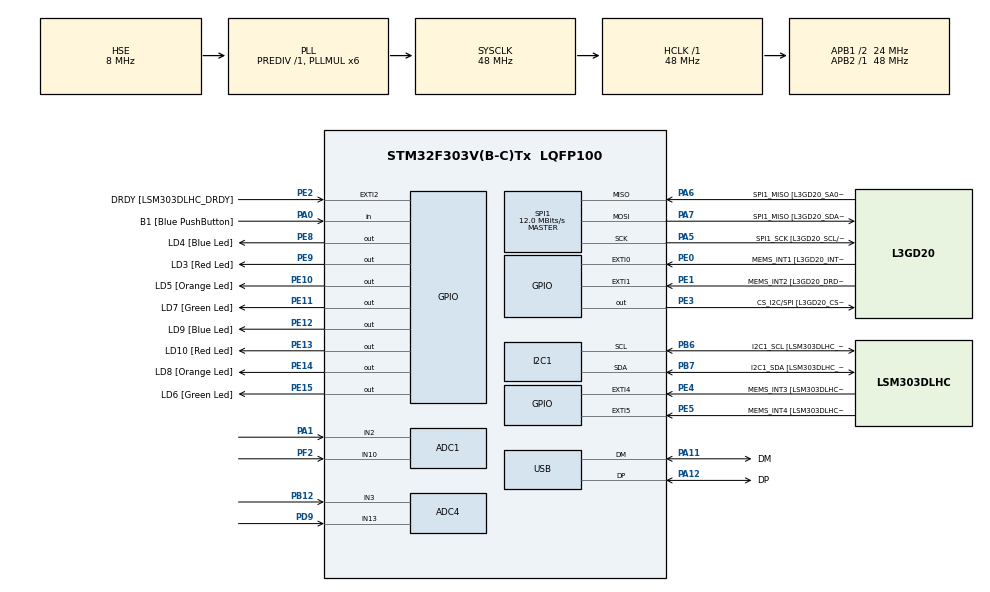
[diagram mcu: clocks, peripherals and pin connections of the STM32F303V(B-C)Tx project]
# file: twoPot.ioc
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ADC1.Channel-1\#ChannelRegularConversion=ADC_CHANNEL_2
ADC1.ContinuousConvMode=ENABLE
ADC1.NbrOfConversionFlag=1
ADC1.Offset-1\#ChannelRegularConversion=0
ADC1.OffsetNumber-1\#ChannelRegularConversion=ADC_OFFSET_NONE
ADC1.Rank-1\#ChannelRegularConversion=1
ADC1.SamplingTime-1\#ChannelRegularConversion=ADC_SAMPLETIME_1CYCLE_5
ADC1.master=1
ADC4.Channel-0\#ChannelRegularConversion=ADC_CHANNEL_3
ADC4.ContinuousConvMode=ENABLE
ADC4.NbrOfConversionFlag=1
ADC4.Offset-0\#ChannelRegularConversion=0
ADC4.OffsetNumber-0\#ChannelRegularConversion=ADC_OFFSET_NONE
ADC4.Rank-0\#ChannelRegularConversion=1
ADC4.SamplingTime-0\#ChannelRegularConversion=ADC_SAMPLETIME_1CYCLE_5
I2C1.Timing=0x2000090E
I2C1.Timing-I2C=0x2000090E
Mcu.Family=STM32F3
Mcu.Name=STM32F303V(B-C)Tx
Mcu.Package=LQFP100
NVIC.PriorityGroup=NVIC_PRIORITYGROUP_0
PA0.GPIO_Label=B1 [Blue PushButton]
PA0.Signal=GPIO_Input
PA1.Mode=IN2-Single-Ended
PA1.Signal=ADC1_IN2
PA11.GPIO_Label=DM
PA11.Mode=Device
PA11.Signal=USB_DM
PA12.GPIO_Label=DP
PA12.Mode=Device
PA12.Signal=USB_DP
PA13.GPIO_Label=SWDIO
PA13.Mode=Serial_Wire
PA13.Signal=SYS_JTMS-SWDIO
PA14.GPIO_Label=SWCLK
PA14.Mode=Serial_Wire
PA14.Signal=SYS_JTCK-SWCLK
PA5.GPIO_Label=SPI1_SCK [L3GD20_SCL/SPC]
PA5.Mode=Full_Duplex_Master
PA5.Signal=SPI1_SCK
PA6.GPIO_Label=SPI1_MISO [L3GD20_SA0/SDO]
PA6.Mode=Full_Duplex_Master
PA6.Signal=SPI1_MISO
PA7.GPIO_Label=SPI1_MISO [L3GD20_SDA/SDI/SDO]
PA7.Mode=Full_Duplex_Master
PA7.Signal=SPI1_MOSI
PB12.Mode=IN3-Single-Ended
PB12.Signal=ADC4_IN3
PB3.GPIO_Label=SWO
PB3.Signal=SYS_JTDO-TRACESWO
PB6.GPIO_Label=I2C1_SCL [LSM303DLHC_SCL]
PB6.GPIO_Pu=GPIO_PULLUP
PB6.Mode=I2C
PB6.Signal=I2C1_SCL
PB7.GPIO_Label=I2C1_SDA [LSM303DLHC_SDA]
PB7.GPIO_Pu=GPIO_PULLUP
PB7.Mode=I2C
PB7.Signal=I2C1_SDA
PC14-OSC32_IN.GPIO_Label=OSC32_IN
PC14-OSC32_IN.Signal=RCC_OSC32_IN
PC15-OSC32_OUT.GPIO_Label=OSC32_OUT
PC15-OSC32_OUT.Signal=RCC_OSC32_OUT
PD9.Mode=IN13-Single-Ended
PD9.Signal=ADC4_IN13
PE0.GPIO_Label=MEMS_INT1 [L3GD20_INT1]
PE0.GPIO_ModeDefaultEXTI=GPIO_MODE_EVT_RISING
PE0.Signal=GPXTI0
PE1.GPIO_Label=MEMS_INT2 [L3GD20_DRDY/INT2]
PE1.GPIO_ModeDefaultEXTI=GPIO_MODE_EVT_RISING
PE1.Signal=GPXTI1
PE10.GPIO_Label=LD5 [Orange Led]
PE10.Signal=GPIO_Output
PE11.GPIO_Label=LD7 [Green Led]
PE11.Signal=GPIO_Output
PE12.GPIO_Label=LD9 [Blue Led]
PE12.Signal=GPIO_Output
PE13.GPIO_Label=LD10 [Red Led]
PE13.Signal=GPIO_Output
PE14.GPIO_Label=LD8 [Orange Led]
PE14.Signal=GPIO_Output
PE15.GPIO_Label=LD6 [Green Led]
PE15.Signal=GPIO_Output
PE2.GPIO_Label=DRDY [LSM303DLHC_DRDY]
PE2.GPIO_ModeDefaultEXTI=GPIO_MODE_EVT_RISING
PE2.Signal=GPXTI2
PE3.GPIO_Label=CS_I2C/SPI [L3GD20_CS_I2C/SPI]
PE3.Signal=GPIO_Output
PE4.GPIO_Label=MEMS_INT3 [LSM303DLHC_INT1]
PE4.GPIO_ModeDefaultEXTI=GPIO_MODE_EVT_RISING
PE4.Signal=GPXTI4
PE5.GPIO_Label=MEMS_INT4 [LSM303DLHC_INT2]
PE5.GPIO_ModeDefaultEXTI=GPIO_MODE_EVT_RISING
PE5.Signal=GPXTI5
PE8.GPIO_Label=LD4 [Blue Led]
PE8.Signal=GPIO_Output
PE9.GPIO_Label=LD3 [Red Led]
PE9.Signal=GPIO_Output
PF0-OSC_IN.GPIO_Label=OSC_IN
PF0-OSC_IN.Mode=HSE-External-Clock-Source
PF0-OSC_IN.Signal=RCC_OSC_IN
PF1-OSC_OUT.GPIO_Label=OSC_OUT
PF1-OSC_OUT.Signal=RCC_OSC_OUT
PF2.Signal=ADCx_IN10
ProjectManager.HeapSize=0x200
ProjectManager.StackSize=0x400
ProjectManager.TargetToolchain=STM32CubeIDE
RCC.AHBFreq_Value=48000000
RCC.APB1CLKDivider=RCC_HCLK_DIV2
RCC.APB1Freq_Value=24000000
RCC.APB1TimFreq_Value=48000000
RCC.APB2Freq_Value=48000000
RCC.APB2TimFreq_Value=48000000
RCC.CortexFreq_Value=48000000
RCC.HCLKFreq_Value=48000000
RCC.HSE_VALUE=8000000
RCC.HSI_VALUE=8000000
RCC.LSE_VALUE=32768
RCC.PLLMUL=RCC_PLL_MUL6
RCC.SYSCLKFreq_VALUE=48000000
RCC.SYSCLKSourceVirtual=RCC_SYSCLKSOURCE_PLLCLK
RCC.USBFreq_Value=48000000
SH.ADCx_IN10.0=ADC1_IN10,IN10-Single-Ended
SPI1.BaudRatePrescaler=SPI_BAUDRATEPRESCALER_4
SPI1.BaudRatePrescaler-Full_Duplex_Master=SPI_BAUDRATEPRESCALER_2
SPI1.CalculateBaudRate=12.0 MBits/s
SPI1.CalculateBaudRate-Full_Duplex_Master=24.0 MBits/s
SPI1.Direction=SPI_DIRECTION_2LINES
SPI1.Mode=SPI_MODE_MASTER
SPI1.Mode-Full_Duplex_Master=SPI_MODE_MASTER
SPI1.VirtualType=VM_MASTER
board=STM32F3DISCOVERY

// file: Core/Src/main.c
/* USER CODE BEGIN Header */
/**
  ******************************************************************************
  * @file           : main.c
  * @brief          : Main program body
  ******************************************************************************
  * @attention
  *
  * Copyright (c) 2024 STMicroelectronics.
  * All rights reserved.
  *
  * This software is licensed under terms that can be found in the LICENSE file
  * in the root directory of this software component.
  * If no LICENSE file comes with this software, it is provided AS-IS.
  *
  ******************************************************************************
  */
/* USER CODE END Header */
#include "main.h"

/* USER CODE BEGIN Includes */
#include "stm32f303xc.h"
#include <stdio.h>
#include "serial.h"
#include "string.h"
#include "timer.h"
#include <stdlib.h>

/* USER CODE END Includes */

ADC_HandleTypeDef hadc1;
ADC_HandleTypeDef hadc4;

I2C_HandleTypeDef hi2c1;

SPI_HandleTypeDef hspi1;

PCD_HandleTypeDef hpcd_USB_FS;

void SystemClock_Config(void);
static void MX_GPIO_Init(void);
static void MX_I2C1_Init(void);
static void MX_SPI1_Init(void);
static void MX_USB_PCD_Init(void);
static void MX_ADC1_Init(void);
static void MX_ADC4_Init(void);

/* USER CODE BEGIN 0 */

void enable_clocks() {
	RCC->AHBENR |= RCC_AHBENR_GPIOAEN | RCC_AHBENR_GPIOCEN | RCC_AHBENR_GPIOEEN;

	// worked
	RCC->APB1ENR |= RCC_APB1ENR_TIM2EN;
	// worked
}

int get_difference(int v1, int v2){
	int diff = v1 - v2;
	diff = abs(diff);

	return diff;
}
uint8_t timer_elapsed = 0;
// worked
void timer_comp(){

	timer_elapsed++;
}
// worked

/* USER CODE END 0 */

int main(void)
{

  /* MCU Configuration--------------------------------------------------------*/

  /* Reset of all peripherals, Initializes the Flash interface and the Systick. */
  HAL_Init();

  /* Configure the system clock */
  SystemClock_Config();

  /* Initialize all configured peripherals */
  MX_GPIO_Init();
  MX_I2C1_Init();
  MX_SPI1_Init();
  MX_USB_PCD_Init();
  MX_ADC1_Init();
  MX_ADC4_Init();
  /* USER CODE BEGIN 2 */
  uint16_t pot_val = 0;
  uint16_t pot_val_2 = 0;

  uint16_t pot_val_prev = 0;
  uint16_t pot_val_2_prev = 0;

  enable_clocks();

  SerialInitialise(BAUD_115200, &USART1_PORT);

  // worked
  trigger_prescaler(1000);
  enable_interrupt_timer2();
  interval_mode(5000, &timer_comp);
  // worked

  /* USER CODE END 2 */

  /* Infinite loop */
  /* USER CODE BEGIN WHILE */

  while (1)
  {
	  uint8_t buffer[100];
	  uint8_t buffer1[100];
	  uint8_t buffer2[100];

	  // worked
	  uint8_t buffer3[100];
	  // worked

	  HAL_ADC_Start(&hadc1);
	  HAL_ADC_PollForConversion(&hadc1, HAL_MAX_DELAY);
	  pot_val = HAL_ADC_GetValue(&hadc1);

//	  int diff1 = pot_val - pot_val_prev;
//	  diff1 = abs(diff1);
	  int diff1 = get_difference(pot_val, pot_val_prev);

	  if ((diff1 > 50) && (pot_val > 100)){
		  sprintf(&buffer[0], "%d#", pot_val);
		  pot_val_prev = pot_val;
	  }
	  else{
		  sprintf(&buffer[0], "%d#", pot_val_prev);
	  }

	  // HAL_ADC_Stop(&hadc1);

	  HAL_ADC_Start(&hadc4);
	  HAL_ADC_PollForConversion(&hadc4, HAL_MAX_DELAY);
	  pot_val_2 = HAL_ADC_GetValue(&hadc4);

//	  int diff2 = pot_val_2 - pot_val_2_prev;
//	  diff2 = abs(diff2);
	  int diff2 = get_difference(pot_val_2, pot_val_2_prev);

	  if ((diff2 > 50) && (pot_val_2 > 100)){
		  sprintf(&buffer2[0], ",%d#", pot_val_2);
		  pot_val_2_prev = pot_val_2;
	  }
	  else{
		  sprintf(&buffer2[0], ",%d#", pot_val_2_prev);
	  }

	  // worked
	  sprintf(&buffer3[0], ",%d#", timer_elapsed);
	  // worked

	  //HAL_ADC_Stop(&hadc1);

	  strcpy((char*)buffer1, "\r\n#");

	  HAL_Delay(150);
	  SerialOutputString(buffer, &USART1_PORT);
	  SerialOutputString(buffer2, &USART1_PORT);

	  // worked
	  SerialOutputString(buffer3, &USART1_PORT);
	  // worked

	  SerialOutputString(buffer1, &USART1_PORT);

    /* USER CODE END WHILE */

  }
}

void SystemClock_Config(void)
{
  RCC_OscInitTypeDef RCC_OscInitStruct = {0};
  RCC_ClkInitTypeDef RCC_ClkInitStruct = {0};
  RCC_PeriphCLKInitTypeDef PeriphClkInit = {0};

  /** Initializes the RCC Oscillators according to the specified parameters
  * in the RCC_OscInitTypeDef structure.
  */
  RCC_OscInitStruct.OscillatorType = RCC_OSCILLATORTYPE_HSI|RCC_OSCILLATORTYPE_HSE;
  RCC_OscInitStruct.HSEState = RCC_HSE_BYPASS;
  RCC_OscInitStruct.HSEPredivValue = RCC_HSE_PREDIV_DIV1;
  RCC_OscInitStruct.HSIState = RCC_HSI_ON;
  RCC_OscInitStruct.HSICalibrationValue = RCC_HSICALIBRATION_DEFAULT;
  RCC_OscInitStruct.PLL.PLLState = RCC_PLL_ON;
  RCC_OscInitStruct.PLL.PLLSource = RCC_PLLSOURCE_HSE;
  RCC_OscInitStruct.PLL.PLLMUL = RCC_PLL_MUL6;
  if (HAL_RCC_OscConfig(&RCC_OscInitStruct) != HAL_OK)
  {
    Error_Handler();
  }

  /** Initializes the CPU, AHB and APB buses clocks
  */
  RCC_ClkInitStruct.ClockType = RCC_CLOCKTYPE_HCLK|RCC_CLOCKTYPE_SYSCLK
                              |RCC_CLOCKTYPE_PCLK1|RCC_CLOCKTYPE_PCLK2;
  RCC_ClkInitStruct.SYSCLKSource = RCC_SYSCLKSOURCE_PLLCLK;
  RCC_ClkInitStruct.AHBCLKDivider = RCC_SYSCLK_DIV1;
  RCC_ClkInitStruct.APB1CLKDivider = RCC_HCLK_DIV2;
  RCC_ClkInitStruct.APB2CLKDivider = RCC_HCLK_DIV1;

  if (HAL_RCC_ClockConfig(&RCC_ClkInitStruct, FLASH_LATENCY_1) != HAL_OK)
  {
    Error_Handler();
  }
  PeriphClkInit.PeriphClockSelection = RCC_PERIPHCLK_USB|RCC_PERIPHCLK_I2C1
                              |RCC_PERIPHCLK_ADC12|RCC_PERIPHCLK_ADC34;
  PeriphClkInit.Adc12ClockSelection = RCC_ADC12PLLCLK_DIV1;
  PeriphClkInit.Adc34ClockSelection = RCC_ADC34PLLCLK_DIV1;
  PeriphClkInit.I2c1ClockSelection = RCC_I2C1CLKSOURCE_HSI;
  PeriphClkInit.USBClockSelection = RCC_USBCLKSOURCE_PLL;
  if (HAL_RCCEx_PeriphCLKConfig(&PeriphClkInit) != HAL_OK)
  {
    Error_Handler();
  }
}

static void MX_ADC1_Init(void)
{

  ADC_MultiModeTypeDef multimode = {0};
  ADC_ChannelConfTypeDef sConfig = {0};

  /** Common config
  */
  hadc1.Instance = ADC1;
  hadc1.Init.ClockPrescaler = ADC_CLOCK_ASYNC_DIV1;
  hadc1.Init.Resolution = ADC_RESOLUTION_12B;
  hadc1.Init.ScanConvMode = ADC_SCAN_DISABLE;
  hadc1.Init.ContinuousConvMode = ENABLE;
  hadc1.Init.DiscontinuousConvMode = DISABLE;
  hadc1.Init.ExternalTrigConvEdge = ADC_EXTERNALTRIGCONVEDGE_NONE;
  hadc1.Init.ExternalTrigConv = ADC_SOFTWARE_START;
  hadc1.Init.DataAlign = ADC_DATAALIGN_RIGHT;
  hadc1.Init.NbrOfConversion = 1;
  hadc1.Init.DMAContinuousRequests = DISABLE;
  hadc1.Init.EOCSelection = ADC_EOC_SINGLE_CONV;
  hadc1.Init.LowPowerAutoWait = DISABLE;
  hadc1.Init.Overrun = ADC_OVR_DATA_OVERWRITTEN;
  if (HAL_ADC_Init(&hadc1) != HAL_OK)
  {
    Error_Handler();
  }

  /** Configure the ADC multi-mode
  */
  multimode.Mode = ADC_MODE_INDEPENDENT;
  if (HAL_ADCEx_MultiModeConfigChannel(&hadc1, &multimode) != HAL_OK)
  {
    Error_Handler();
  }

  /** Configure Regular Channel
  */
  sConfig.Channel = ADC_CHANNEL_2;
  sConfig.Rank = ADC_REGULAR_RANK_1;
  sConfig.SingleDiff = ADC_SINGLE_ENDED;
  sConfig.SamplingTime = ADC_SAMPLETIME_1CYCLE_5;
  sConfig.OffsetNumber = ADC_OFFSET_NONE;
  sConfig.Offset = 0;
  if (HAL_ADC_ConfigChannel(&hadc1, &sConfig) != HAL_OK)
  {
    Error_Handler();
  }
  /* USER CODE BEGIN ADC1_Init 2 */
  sConfig.Channel = ADC_CHANNEL_3;
  sConfig.Rank = ADC_REGULAR_RANK_2;
  if (HAL_ADC_ConfigChannel(&hadc1, &sConfig) != HAL_OK)
  {
    Error_Handler();
  }

  /* USER CODE END ADC1_Init 2 */

}

static void MX_ADC4_Init(void)
{

  ADC_ChannelConfTypeDef sConfig = {0};

  /** Common config
  */
  hadc4.Instance = ADC4;
  hadc4.Init.ClockPrescaler = ADC_CLOCK_ASYNC_DIV1;
  hadc4.Init.Resolution = ADC_RESOLUTION_12B;
  hadc4.Init.ScanConvMode = ADC_SCAN_DISABLE;
  hadc4.Init.ContinuousConvMode = ENABLE;
  hadc4.Init.DiscontinuousConvMode = DISABLE;
  hadc4.Init.ExternalTrigConvEdge = ADC_EXTERNALTRIGCONVEDGE_NONE;
  hadc4.Init.ExternalTrigConv = ADC_SOFTWARE_START;
  hadc4.Init.DataAlign = ADC_DATAALIGN_RIGHT;
  hadc4.Init.NbrOfConversion = 1;
  hadc4.Init.DMAContinuousRequests = DISABLE;
  hadc4.Init.EOCSelection = ADC_EOC_SINGLE_CONV;
  hadc4.Init.LowPowerAutoWait = DISABLE;
  hadc4.Init.Overrun = ADC_OVR_DATA_OVERWRITTEN;
  if (HAL_ADC_Init(&hadc4) != HAL_OK)
  {
    Error_Handler();
  }

  /** Configure Regular Channel
  */
  sConfig.Channel = ADC_CHANNEL_3;
  sConfig.Rank = ADC_REGULAR_RANK_1;
  sConfig.SingleDiff = ADC_SINGLE_ENDED;
  sConfig.SamplingTime = ADC_SAMPLETIME_1CYCLE_5;
  sConfig.OffsetNumber = ADC_OFFSET_NONE;
  sConfig.Offset = 0;
  if (HAL_ADC_ConfigChannel(&hadc4, &sConfig) != HAL_OK)
  {
    Error_Handler();
  }

}

static void MX_I2C1_Init(void)
{

  hi2c1.Instance = I2C1;
  hi2c1.Init.Timing = 0x2000090E;
  hi2c1.Init.OwnAddress1 = 0;
  hi2c1.Init.AddressingMode = I2C_ADDRESSINGMODE_7BIT;
  hi2c1.Init.DualAddressMode = I2C_DUALADDRESS_DISABLE;
  hi2c1.Init.OwnAddress2 = 0;
  hi2c1.Init.OwnAddress2Masks = I2C_OA2_NOMASK;
  hi2c1.Init.GeneralCallMode = I2C_GENERALCALL_DISABLE;
  hi2c1.Init.NoStretchMode = I2C_NOSTRETCH_DISABLE;
  if (HAL_I2C_Init(&hi2c1) != HAL_OK)
  {
    Error_Handler();
  }

  /** Configure Analogue filter
  */
  if (HAL_I2CEx_ConfigAnalogFilter(&hi2c1, I2C_ANALOGFILTER_ENABLE) != HAL_OK)
  {
    Error_Handler();
  }

  /** Configure Digital filter
  */
  if (HAL_I2CEx_ConfigDigitalFilter(&hi2c1, 0) != HAL_OK)
  {
    Error_Handler();
  }

}

static void MX_SPI1_Init(void)
{

  /* SPI1 parameter configuration*/
  hspi1.Instance = SPI1;
  hspi1.Init.Mode = SPI_MODE_MASTER;
  hspi1.Init.Direction = SPI_DIRECTION_2LINES;
  hspi1.Init.DataSize = SPI_DATASIZE_4BIT;
  hspi1.Init.CLKPolarity = SPI_POLARITY_LOW;
  hspi1.Init.CLKPhase = SPI_PHASE_1EDGE;
  hspi1.Init.NSS = SPI_NSS_SOFT;
  hspi1.Init.BaudRatePrescaler = SPI_BAUDRATEPRESCALER_4;
  hspi1.Init.FirstBit = SPI_FIRSTBIT_MSB;
  hspi1.Init.TIMode = SPI_TIMODE_DISABLE;
  hspi1.Init.CRCCalculation = SPI_CRCCALCULATION_DISABLE;
  hspi1.Init.CRCPolynomial = 7;
  hspi1.Init.CRCLength = SPI_CRC_LENGTH_DATASIZE;
  hspi1.Init.NSSPMode = SPI_NSS_PULSE_ENABLE;
  if (HAL_SPI_Init(&hspi1) != HAL_OK)
  {
    Error_Handler();
  }

}

static void MX_USB_PCD_Init(void)
{

  hpcd_USB_FS.Instance = USB;
  hpcd_USB_FS.Init.dev_endpoints = 8;
  hpcd_USB_FS.Init.speed = PCD_SPEED_FULL;
  hpcd_USB_FS.Init.phy_itface = PCD_PHY_EMBEDDED;
  hpcd_USB_FS.Init.low_power_enable = DISABLE;
  hpcd_USB_FS.Init.battery_charging_enable = DISABLE;
  if (HAL_PCD_Init(&hpcd_USB_FS) != HAL_OK)
  {
    Error_Handler();
  }

}

static void MX_GPIO_Init(void)
{
  GPIO_InitTypeDef GPIO_InitStruct = {0};

  /* GPIO Ports Clock Enable */
  __HAL_RCC_GPIOE_CLK_ENABLE();
  __HAL_RCC_GPIOC_CLK_ENABLE();
  __HAL_RCC_GPIOF_CLK_ENABLE();
  __HAL_RCC_GPIOA_CLK_ENABLE();
  __HAL_RCC_GPIOB_CLK_ENABLE();
  __HAL_RCC_GPIOD_CLK_ENABLE();

  /*Configure GPIO pin Output Level */
  HAL_GPIO_WritePin(GPIOE, CS_I2C_SPI_Pin|LD4_Pin|LD3_Pin|LD5_Pin
                          |LD7_Pin|LD9_Pin|LD10_Pin|LD8_Pin
                          |LD6_Pin, GPIO_PIN_RESET);

  /*Configure GPIO pins : DRDY_Pin MEMS_INT3_Pin MEMS_INT4_Pin MEMS_INT1_Pin
                           MEMS_INT2_Pin */
  GPIO_InitStruct.Pin = DRDY_Pin|MEMS_INT3_Pin|MEMS_INT4_Pin|MEMS_INT1_Pin
                          |MEMS_INT2_Pin;
  GPIO_InitStruct.Mode = GPIO_MODE_EVT_RISING;
  GPIO_InitStruct.Pull = GPIO_NOPULL;
  HAL_GPIO_Init(GPIOE, &GPIO_InitStruct);

  /*Configure GPIO pins : CS_I2C_SPI_Pin LD4_Pin LD3_Pin LD5_Pin
                           LD7_Pin LD9_Pin LD10_Pin LD8_Pin
                           LD6_Pin */
  GPIO_InitStruct.Pin = CS_I2C_SPI_Pin|LD4_Pin|LD3_Pin|LD5_Pin
                          |LD7_Pin|LD9_Pin|LD10_Pin|LD8_Pin
                          |LD6_Pin;
  GPIO_InitStruct.Mode = GPIO_MODE_OUTPUT_PP;
  GPIO_InitStruct.Pull = GPIO_NOPULL;
  GPIO_InitStruct.Speed = GPIO_SPEED_FREQ_LOW;
  HAL_GPIO_Init(GPIOE, &GPIO_InitStruct);

  /*Configure GPIO pin : B1_Pin */
  GPIO_InitStruct.Pin = B1_Pin;
  GPIO_InitStruct.Mode = GPIO_MODE_INPUT;
  GPIO_InitStruct.Pull = GPIO_NOPULL;
  HAL_GPIO_Init(B1_GPIO_Port, &GPIO_InitStruct);

}

void Error_Handler(void)
{
  __disable_irq();
  while (1)
  {
  }
}
